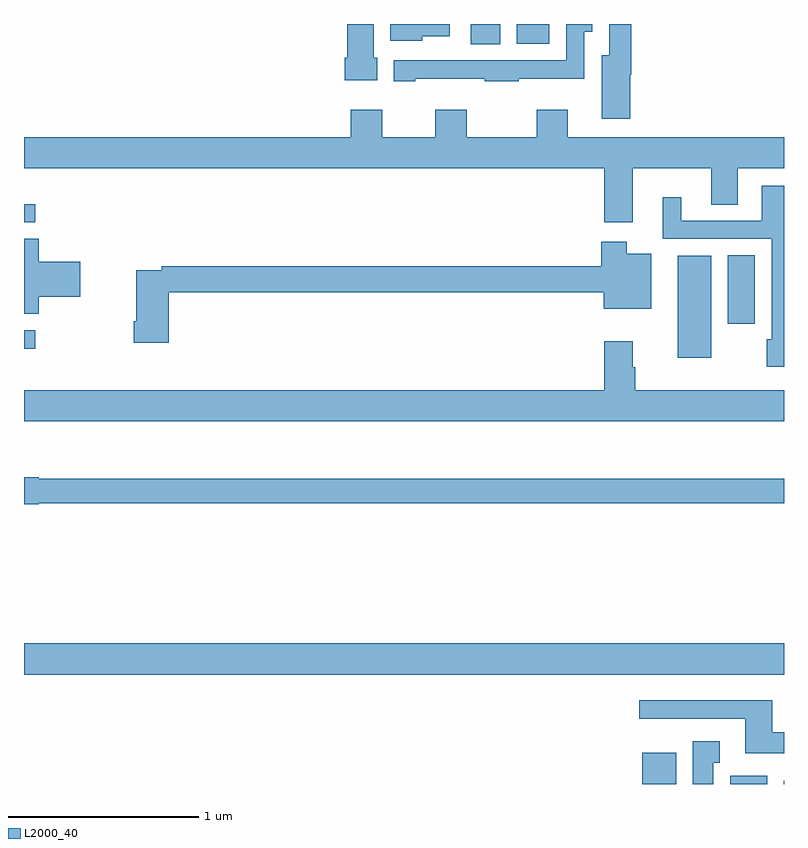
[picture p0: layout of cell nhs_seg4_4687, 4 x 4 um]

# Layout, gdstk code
import gdstk
lib = gdstk.Library(unit=1e-6, precision=1e-09)
def R(c, l, rs):  # rectangles x0, y0, x1, y1
    for r in rs: c.add(gdstk.rectangle(r[:2], r[2:], *l))
def P(c, l, *ps):  # polygons
    for p in ps: c.add(gdstk.Polygon(p, *l))
L2000_40 = (2000, 40)

nhs_seg4_4687 = lib.new_cell('nhs_seg4_4687')
R(nhs_seg4_4687, L2000_40, [(366.254,806.9,366.433,807.064), (366.716,806.9,366.913,806.944), (366.998,806.9,367,806.917), (363,807.476,367,807.64), (366.44,809.144,366.616,809.68), (363,809.191,363.058,809.289), (366.704,809.322,366.847,809.684), (363,809.856,363.058,809.952), (365.351,810.793,365.506,810.9), (365.594,810.797,365.764,810.9)])
P(nhs_seg4_4687, L2000_40, [(366.191,810.632),(366.197,810.632),(366.197,810.9),(366.081,810.9),(366.081,810.736),(366.041,810.736),(366.041,810.402),(366.191,810.402)],
  [(365.097,810.836),(365.242,810.836),(365.242,810.9),(364.928,810.9),(364.928,810.812),(365.097,810.812)],
  [(365.059,810.611),(365.425,810.611),(365.425,810.6),(365.603,810.6),(365.603,810.611),(365.949,810.611),(365.949,810.86),(365.992,810.86),(365.992,810.9),(365.853,810.9),(365.853,810.708),(364.947,810.708),(364.947,810.6),(365.059,810.6)],
  [(364.858,810.723),(364.84,810.723),(364.84,810.9),(364.7,810.9),(364.7,810.723),(364.688,810.723),(364.688,810.605),(364.858,810.605)],
  [(366.205,810.14),(366.617,810.14),(366.617,809.95),(366.757,809.95),(366.757,810.14),(367,810.14),(367,810.304),(365.863,810.304),(365.863,810.448),(365.699,810.448),(365.699,810.304),(365.329,810.304),(365.329,810.448),(365.165,810.448),(365.165,810.304),(364.885,810.304),(364.885,810.448),(364.721,810.448),(364.721,810.304),(363,810.304),(363,810.14),(366.053,810.14),(366.053,809.856),(366.205,809.856)],
  [(367,810.049),(366.884,810.049),(366.884,809.865),(366.46,809.865),(366.46,809.989),(366.362,809.989),(366.362,809.769),(366.936,809.769),(366.936,809.241),(366.91,809.241),(366.91,809.097),(367,809.097)],
  [(363.077,809.465),(363.295,809.465),(363.295,809.648),(363.077,809.648),(363.077,809.771),(363,809.771),(363,809.374),(363.077,809.374)],
  [(363.761,809.488),(366.05,809.488),(366.05,809.402),(366.301,809.402),(366.301,809.692),(366.172,809.692),(366.172,809.755),(366.038,809.755),(366.038,809.624),(363.724,809.624),(363.724,809.604),(363.59,809.604),(363.59,809.335),(363.578,809.335),(363.578,809.223),(363.761,809.223)],
  [(367,808.972),(366.218,808.972),(366.218,809.093),(366.205,809.093),(366.205,809.23),(366.053,809.23),(366.053,808.972),(363,808.972),(363,808.808),(367,808.808)],
  [(363.078,808.378),(367,808.378),(367,808.507),(363.078,808.507),(363.078,808.515),(363,808.515),(363,808.373),(363.078,808.373)],
  [(367,807.172),(366.937,807.172),(366.937,807.34),(366.237,807.34),(366.237,807.243),(366.797,807.243),(366.797,807.062),(367,807.062)],
  [(366.628,807.011),(366.661,807.011),(366.661,807.124),(366.521,807.124),(366.521,806.9),(366.628,806.9)])

lib.write_gds('nhs_seg4_4687.gds')
